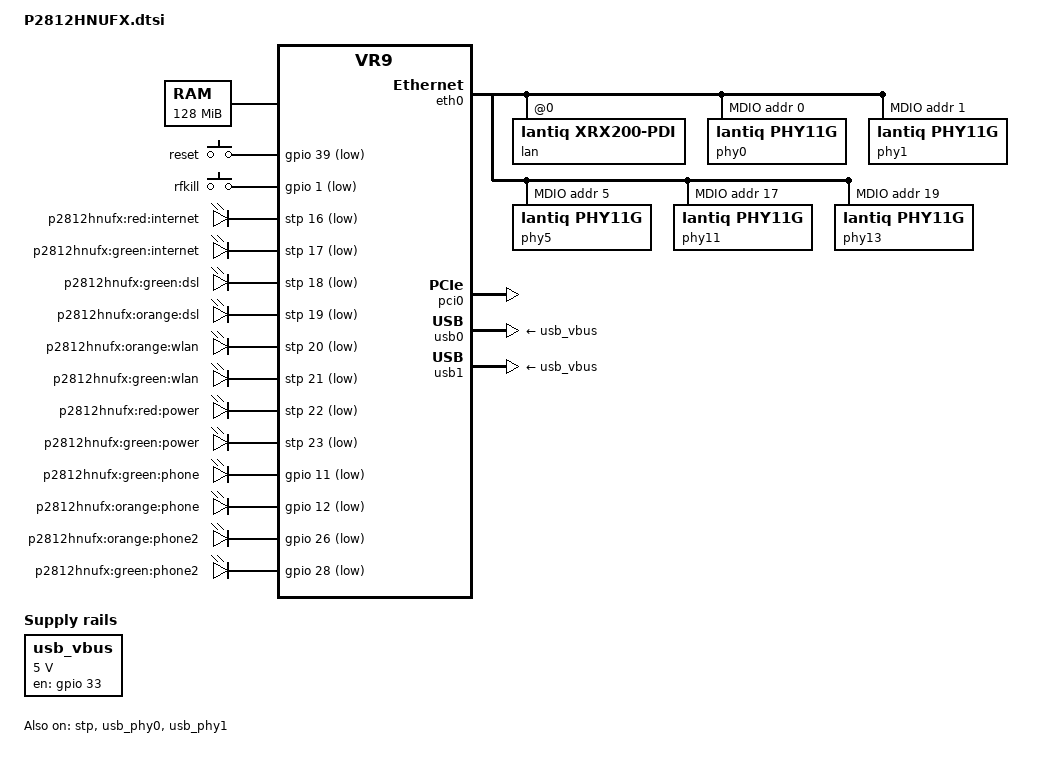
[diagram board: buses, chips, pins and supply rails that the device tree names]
#include "vr9.dtsi"

#include <dt-bindings/input/input.h>
#include <dt-bindings/mips/lantiq_rcu_gphy.h>

/ {
	compatible = "zyxel,p-2812hnu", "lantiq,xway", "lantiq,vr9";

	chosen {
		bootargs = "console=ttyLTQ0,115200";
	};

	aliases {
		led-boot = &power_green;
		led-failsafe = &power_red;
		led-running = &power_green;
		led-upgrade = &power_green;

		led-dsl = &dsl_green;
		led-internet = &internet_green;
		led-wifi = &wireless_green;
	};

	memory@0 {
		device_type = "memory";
		reg = <0x0 0x8000000>;
	};

	keys {
		compatible = "gpio-keys-polled";
		poll-interval = <100>;

		reset {
			label = "reset";
			gpios = <&gpio 39 GPIO_ACTIVE_LOW>;
			linux,code = <KEY_RESTART>;
		};

		rfkill {
			label = "rfkill";
			gpios = <&gpio 1 GPIO_ACTIVE_LOW>;
			linux,code = <KEY_RFKILL>;
		};
	};

	leds {
		compatible = "gpio-leds";

		internet_red {
			label = "p2812hnufx:red:internet";
			gpios = <&stp 16 GPIO_ACTIVE_LOW>;
		};
		internet_green: internet_green {
			label = "p2812hnufx:green:internet";
			gpios = <&stp 17 GPIO_ACTIVE_LOW>;
		};
		dsl_green: dsl_green {
			label = "p2812hnufx:green:dsl";
			gpios = <&stp 18 GPIO_ACTIVE_LOW>;
		};
		dsl_orange {
			label = "p2812hnufx:orange:dsl";
			gpios = <&stp 19 GPIO_ACTIVE_LOW>;
		};
		wireless_orange {
			label = "p2812hnufx:orange:wlan";
			gpios = <&stp 20 GPIO_ACTIVE_LOW>;
		};
		wireless_green: wireless_green {
			label = "p2812hnufx:green:wlan";
			gpios = <&stp 21 GPIO_ACTIVE_LOW>;
		};
		power_red: power {
			label = "p2812hnufx:red:power";
			gpios = <&stp 22 GPIO_ACTIVE_LOW>;
		};
		power_green: power2 {
			label = "p2812hnufx:green:power";
			gpios = <&stp 23 GPIO_ACTIVE_LOW>;
			default-state = "keep";
		};
		phone1 {
			label = "p2812hnufx:green:phone";
			gpios = <&gpio 11 GPIO_ACTIVE_LOW>;
		};
		phone1warn {
			label = "p2812hnufx:orange:phone";
			gpios = <&gpio 12 GPIO_ACTIVE_LOW>;
		};
		phone2warn {
			label = "p2812hnufx:orange:phone2";
			gpios = <&gpio 26 GPIO_ACTIVE_LOW>;
		};
		phone2 {
			label = "p2812hnufx:green:phone2";
			gpios = <&gpio 28 GPIO_ACTIVE_LOW>;
		};
	};

	usb_vbus: regulator-usb-vbus {
		compatible = "regulator-fixed";

		regulator-name = "USB_VBUS";

		regulator-min-microvolt = <5000000>;
		regulator-max-microvolt = <5000000>;

		gpio = <&gpio 33 GPIO_ACTIVE_HIGH>;
		enable-active-high;
	};
};

&eth0 {
	lan: interface@0 {
		compatible = "lantiq,xrx200-pdi";
		#address-cells = <1>;
		#size-cells = <0>;
		reg = <0>;
		mac-address = [ 00 11 22 33 44 55 ];
		lantiq,switch;

		ethernet@0 {
			compatible = "lantiq,xrx200-pdi-port";
			reg = <0>;
			phy-mode = "rgmii";
			phy-handle = <&phy0>;
		};
		ethernet@1 {
			compatible = "lantiq,xrx200-pdi-port";
			reg = <1>;
			phy-mode = "rgmii";
			phy-handle = <&phy1>;
		};
		ethernet@2 {
			compatible = "lantiq,xrx200-pdi-port";
			reg = <2>;
			phy-mode = "gmii";
			phy-handle = <&phy11>;
		};
		ethernet@4 {
			compatible = "lantiq,xrx200-pdi-port";
			reg = <4>;
			phy-mode = "gmii";
			phy-handle = <&phy13>;
		};
		ethernet@5 {
			compatible = "lantiq,xrx200-pdi-port";
			reg = <5>;
			phy-mode = "rgmii";
			phy-handle = <&phy5>;
		};
	};

	mdio {
		#address-cells = <1>;
		#size-cells = <0>;
		compatible = "lantiq,xrx200-mdio";

		phy0: ethernet-phy@0 {
			reg = <0x0>;
			compatible = "lantiq,phy11g", "ethernet-phy-ieee802.3-c22";
		};
		phy1: ethernet-phy@1 {
			reg = <0x1>;
			compatible = "lantiq,phy11g", "ethernet-phy-ieee802.3-c22";
		};
		phy5: ethernet-phy@5 {
			reg = <0x5>;
			compatible = "lantiq,phy11g", "ethernet-phy-ieee802.3-c22";
		};
		phy11: ethernet-phy@11 {
			reg = <0x11>;
			compatible = "lantiq,phy11g", "ethernet-phy-ieee802.3-c22";
		};
		phy13: ethernet-phy@13 {
			reg = <0x13>;
			compatible = "lantiq,phy11g", "ethernet-phy-ieee802.3-c22";
		};
	};
};

&gphy0 {
	lantiq,gphy-mode = <GPHY_MODE_GE>;
};

&gphy1 {
	lantiq,gphy-mode = <GPHY_MODE_GE>;
};

&gpio {
	pinctrl-names = "default";
	pinctrl-0 = <&state_default>;

	state_default: pinmux {
		exin3 {
			lantiq,groups = "exin3";
			lantiq,function = "exin";
		};
		mdio {
			lantiq,groups = "mdio";
			lantiq,function = "mdio";
		};
		gphy-leds {
			lantiq,groups = "gphy0 led1", "gphy1 led1",
					"gphy0 led2", "gphy1 led2";
			lantiq,function = "gphy";
			lantiq,pull = <2>;
			lantiq,open-drain = <0>;
			lantiq,output = <1>;
		};
		stp {
			lantiq,groups = "stp";
			lantiq,function = "stp";
			lantiq,pull = <2>;
			lantiq,open-drain = <0>;
			lantiq,output = <1>;
		};
		pci-in {
			lantiq,groups = "req1";
			lantiq,function = "pci";
			lantiq,output = <0>;
			lantiq,open-drain = <1>;
			lantiq,pull = <2>;
		};
		pci-out {
			lantiq,groups = "gnt1";
			lantiq,function = "pci";
			lantiq,output = <1>;
			lantiq,open-drain = <0>;
			lantiq,pull = <0>;
		};
		pci_rst {
			lantiq,pins = "io21";
			lantiq,output = <1>;
			lantiq,open-drain = <0>;
			lantiq,pull = <2>;
		};
		pcie-rst {
			lantiq,pins = "io38";
			lantiq,pull = <0>;
			lantiq,output = <1>;
		};
		ifxhcd-rst {
			lantiq,pins = "io33";
			lantiq,pull = <0>;
			lantiq,open-drain = <0>;
			lantiq,output = <1>;
		};
		nand_out {
			lantiq,groups = "nand cle", "nand ale";
			lantiq,function = "ebu";
			lantiq,output = <1>;
			lantiq,open-drain = <0>;
			lantiq,pull = <0>;
		};
		nand_cs1 {
			lantiq,groups = "nand cs1";
			lantiq,function = "ebu";
			lantiq,open-drain = <0>;
			lantiq,pull = <0>;
		};
	};
};

&pci0 {
	status = "okay";
	gpio-reset = <&gpio 21 GPIO_ACTIVE_HIGH>;
};

&stp {
	status = "okay";

	lantiq,shadow = <0xffffff>;
	lantiq,groups = <0x7>;
	lantiq,dsl = <0x0>;
	lantiq,phy1 = <0x0>;
	lantiq,phy2 = <0x0>;
};

&usb_phy0 {
	status = "okay";
};

&usb_phy1 {
	status = "okay";
};

&usb0 {
	status = "okay";
	vbus-supply = <&usb_vbus>;
};

&usb1 {
	status = "okay";
	vbus-supply = <&usb_vbus>;
};
